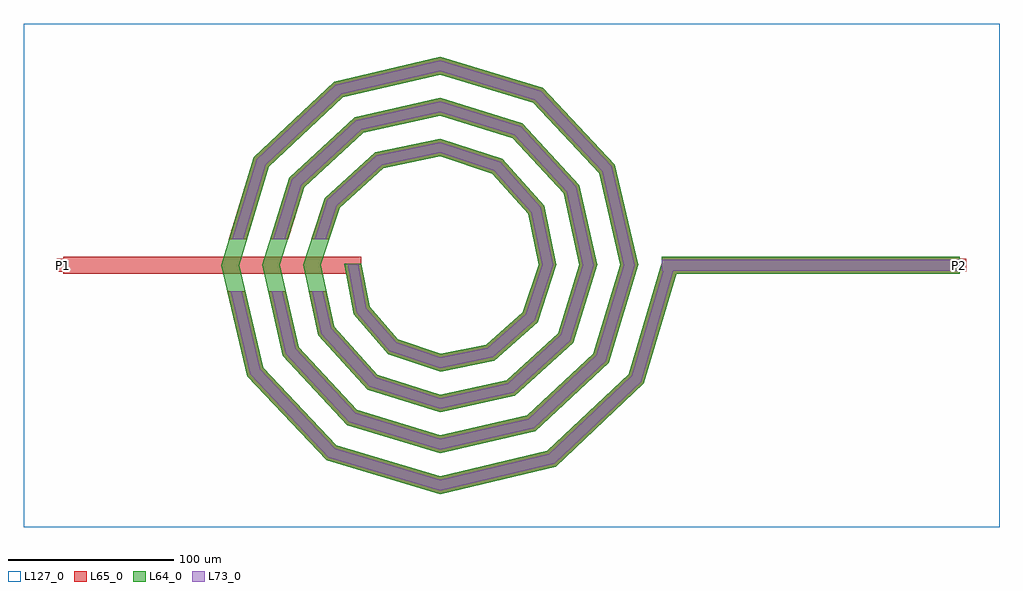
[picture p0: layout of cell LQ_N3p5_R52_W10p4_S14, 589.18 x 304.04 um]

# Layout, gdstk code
import gdstk
lib = gdstk.Library(unit=1e-6, precision=1e-09)
def R(c, l, rs):  # rectangles x0, y0, x1, y1
    for r in rs: c.add(gdstk.rectangle(r[:2], r[2:], *l))
def P(c, l, *ps):  # polygons
    for p in ps: c.add(gdstk.Polygon(p, *l))
L64_0 = (64, 0)
L65_0 = (65, 0)
L73_0 = (73, 0)
L127_0 = (127, 0)

lq_n3p5_r52_w10p4_s14 = lib.new_cell('LQ_N3p5_R52_W10p4_S14')
R(lq_n3p5_r52_w10p4_s14, L64_0, [(133.779,-5.2,313.779,5.2)])
P(lq_n3p5_r52_w10p4_s14, L64_0, [(-42.491,-24.968),(-25.354,-44.642),(0.351,-53.394),(28.019,-47.852),(49.966,-28.469),(59.562,0.318),(53.209,31.076),(31.579,55.293),(0.29,65.731),(-34.138,58.565),(-60.624,34.684),(-71.9,0.267),(-63.918,-37.204),(-37.787,-65.956),(0.247,-78.069),(40.272,-69.27),(71.29,-40.887),(84.239,0.23),(74.621,43.343),(43.985,76.625),(0.216,90.408),(-46.415,79.972),(-81.961,47.082),(-96.578,0.203),(-85.321,-49.489),(-50.177,-87.299),(0.191,-102.748),(52.565,-90.67),(92.636,-53.271),(108.918,0.181),(96.018,55.641),(56.364,97.975),(0.171,115.088),(-58.718,101.365),(-103.314,59.457),(-121.257,0.163),(-106.713,-61.796),(-62.549,-108.653),(0.156,-127.427),(64.875,-112.06),(113.993,-65.64),(133.995,1.485),(143.962,-1.485),(123.163,-71.283),(69.991,-121.534),(0.156,-138.19),(-68.204,-117.816),(-116.194,-66.899),(-132.02,0.163),(-112.469,65.125),(-63.807,110.855),(0.171,125.85),(62.048,107.121),(105.515,60.714),(119.679,0.181),(101.772,-58.971),(57.621,-100.177),(0.191,-113.509),(-55.895,-96.423),(-94.838,-54.526),(-107.338,0.203),(-91.073,52.82),(-51.43,89.501),(0.216,101.168),(49.746,85.723),(84.164,48.332),(94.997,0.23),(80.371,-46.674),(45.233,-78.828),(0.247,-88.827),(-43.605,-75.018),(-73.493,-42.131),(-82.656,0.267),(-69.663,40.537),(-39.027,68.16),(0.29,76.485),(37.473,64.307),(62.829,35.918),(70.313,0.318),(58.947,-34.412),(32.806,-57.499),(0.351,-64.141),(-31.357,-53.584),(-52.173,-29.686),(-57.704,0.984),(-47.491,0.984)])
R(lq_n3p5_r52_w10p4_s14, L65_0, [(-227.398,-5.2,-47.398,5.2), (133.779,-5.2,313.779,5.2), (-231.398,-4,-223.398,4), (309.779,-4,317.779,4)])
P(lq_n3p5_r52_w10p4_s14, L65_0, [(-106.713,-61.796),(-62.549,-108.653),(0.156,-127.427),(64.875,-112.06),(113.993,-65.64),(133.996,1.485),(143.962,-1.485),(123.163,-71.283),(69.991,-121.534),(0.156,-138.19),(-68.204,-117.816),(-116.194,-66.899),(-128.3,-15.6),(-117.615,-15.6)],
  [(-85.321,-49.489),(-50.177,-87.299),(0.191,-102.748),(52.565,-90.67),(92.636,-53.271),(108.918,0.181),(96.018,55.641),(56.364,97.975),(0.171,115.088),(-58.718,101.366),(-103.314,59.457),(-116.513,15.6),(-127.374,15.6),(-112.469,65.125),(-63.807,110.855),(0.171,125.85),(62.048,107.121),(105.515,60.714),(119.679,0.181),(101.772,-58.971),(57.621,-100.177),(0.191,-113.509),(-55.895,-96.423),(-94.838,-54.526),(-103.729,-15.6),(-93.061,-15.6)],
  [(-63.918,-37.204),(-37.787,-65.956),(0.247,-78.07),(40.272,-69.27),(71.29,-40.887),(84.239,0.23),(74.621,43.343),(43.985,76.625),(0.216,90.409),(-46.415,79.972),(-81.961,47.082),(-91.693,15.6),(-102.579,15.6),(-91.073,52.82),(-51.43,89.501),(0.216,101.168),(49.746,85.723),(84.164,48.332),(94.997,0.23),(80.371,-46.674),(45.233,-78.828),(0.247,-88.827),(-43.605,-75.018),(-73.493,-42.131),(-79.227,-15.6),(-68.587,-15.6)],
  [(-25.354,-44.642),(0.351,-53.394),(28.019,-47.852),(49.966,-28.469),(59.562,0.318),(53.209,31.076),(31.579,55.293),(0.29,65.731),(-34.138,58.565),(-60.624,34.684),(-66.781,15.6),(-77.709,15.6),(-69.663,40.537),(-39.027,68.16),(0.29,76.485),(37.473,64.307),(62.829,35.918),(70.313,0.318),(58.947,-34.412),(32.806,-57.499),(0.351,-64.141),(-31.357,-53.584),(-52.173,-29.686),(-57.704,0.984),(-47.492,0.984),(-42.491,-24.968)])
R(lq_n3p5_r52_w10p4_s14, L73_0, [(133.779,-3.2,313.779,3.2)])
P(lq_n3p5_r52_w10p4_s14, L73_0, [(-108.536,-62.777),(-63.636,-110.415),(0.096,-129.497),(65.859,-113.882),(115.756,-66.725),(135.912,0.914),(142.046,0.914),(121.4,-70.197),(69.007,-119.712),(0.096,-136.121),(-67.116,-116.054),(-114.371,-65.918),(-126.245,-15.6),(-119.669,-15.6)],
  [(-87.151,-50.458),(-51.277,-89.053),(0.118,-104.817),(53.537,-92.498),(94.393,-54.367),(110.987,0.111),(97.844,56.617),(57.457,99.734),(0.106,117.157),(-59.697,103.19),(-105.074,60.547),(-118.602,15.6),(-125.285,15.6),(-110.708,64.035),(-62.829,109.03),(0.106,123.78),(60.955,105.362),(103.689,59.739),(117.61,0.111),(100.015,-57.875),(56.648,-98.348),(0.118,-111.44),(-54.795,-94.668),(-93.008,-53.557),(-101.678,-15.6),(-95.113,-15.6)],
  [(-65.76,-38.151),(-38.906,-67.699),(0.152,-80.138),(41.226,-71.108),(73.036,-42),(86.308,0.142),(76.457,44.302),(45.093,78.375),(0.133,92.478),(-47.38,81.804),(-83.714,48.185),(-93.787,15.6),(-100.485,15.6),(-89.321,51.716),(-50.465,87.668),(0.133,99.099),(48.638,83.973),(82.329,47.373),(92.928,0.142),(78.625,-45.562),(44.279,-76.99),(0.152,-86.758),(-42.486,-73.275),(-71.652,-41.183),(-77.181,-15.6),(-70.633,-15.6)],
  [(-26.508,-46.362),(0.216,-55.461),(28.939,-49.707),(51.693,-29.612),(61.63,0.196),(55.059,32.007),(32.712,57.027),(0.179,67.799),(-35.078,60.41),(-62.362,35.81),(-68.882,15.6),(-75.607,15.6),(-67.925,39.412),(-38.086,66.315),(0.179,74.417),(36.339,62.573),(60.979,34.987),(68.246,0.196),(57.22,-33.269),(31.885,-55.644),(0.216,-62.075),(-30.203,-51.865),(-50.311,-28.779),(-55.74,0.606),(-49.455,0.606),(-44.353,-25.875)])
R(lq_n3p5_r52_w10p4_s14, L127_0, [(-251.398,-158.19,337.779,145.85)])
lq_n3p5_r52_w10p4_s14.add(gdstk.Label('P2', (313.779,0), layer=65, texttype=0))
lq_n3p5_r52_w10p4_s14.add(gdstk.Label('P1', (-227.398,0), layer=65, texttype=0))
lq_n3p5_r52_w10p4_s14.add(gdstk.Label('P2', (317.779,0), layer=145, texttype=0))
lq_n3p5_r52_w10p4_s14.add(gdstk.Label('P1', (-231.398,0), layer=145, texttype=0))

lib.write_gds('LQ_N3p5_R52_W10p4_S14.gds')
